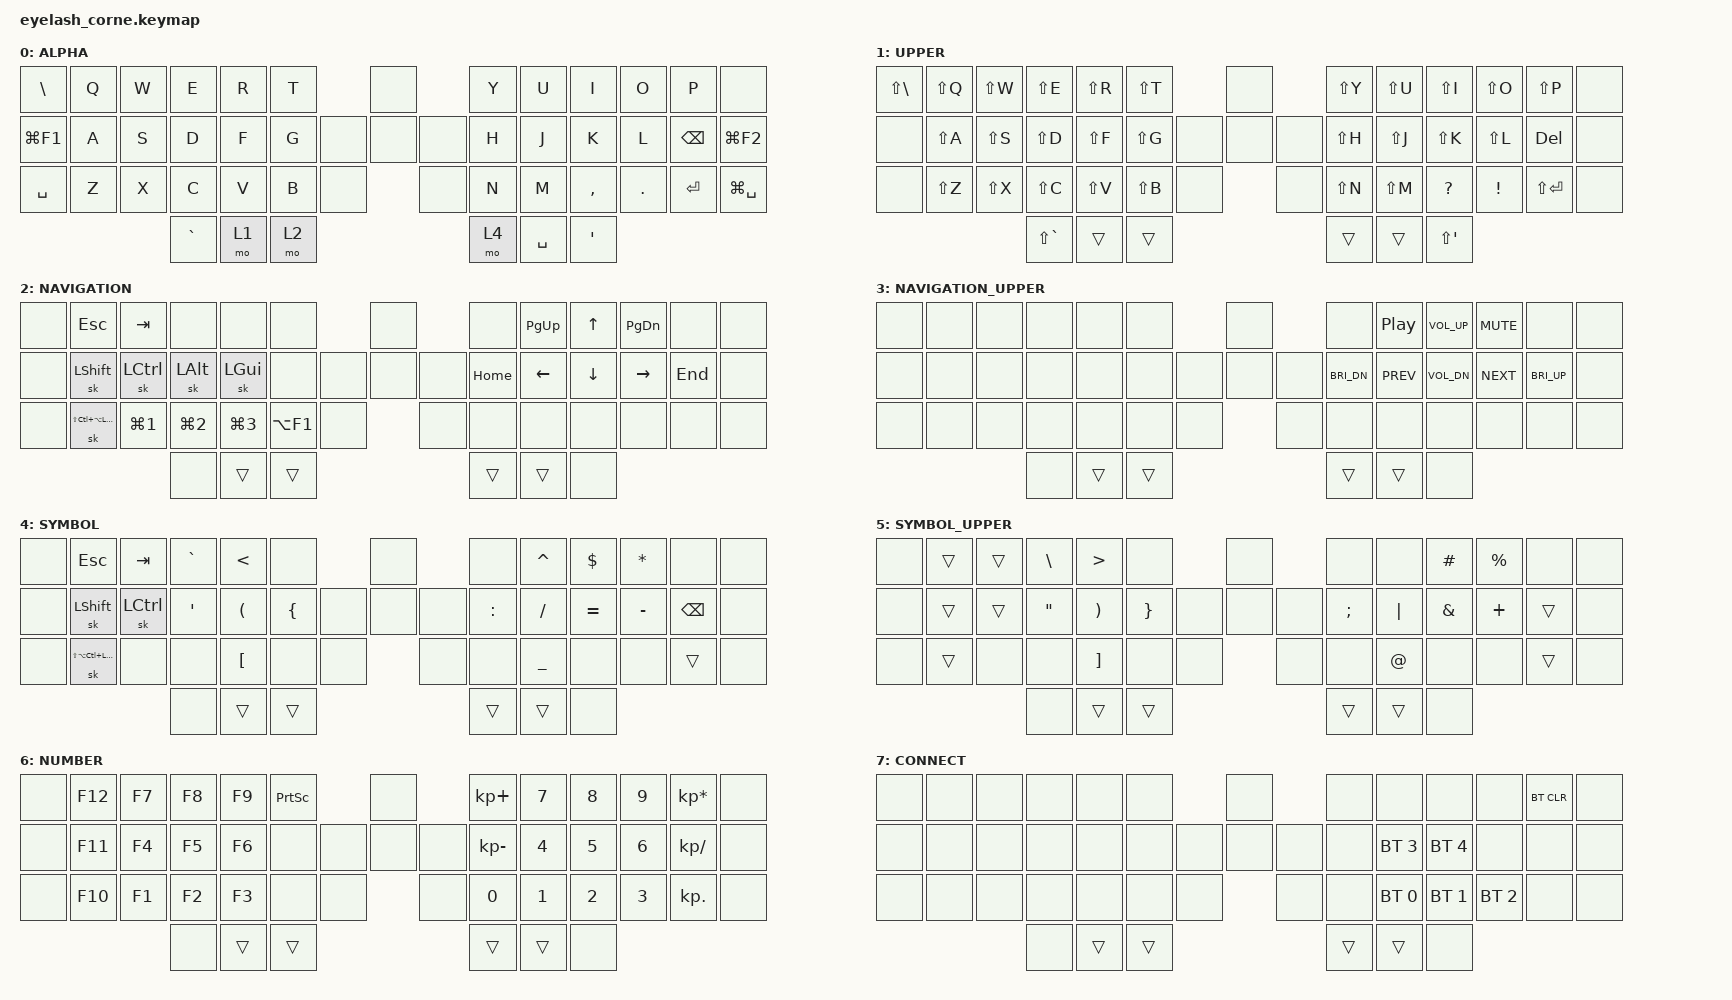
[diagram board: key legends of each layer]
#define ZMK_POINTING_DEFAULT_MOVE_VAL 1200  // 600
#define ZMK_POINTING_DEFAULT_SCRL_VAL 25   // 10

#include <input/processors.dtsi>
#include <zephyr/dt-bindings/input/input-event-codes.h>
#include <behaviors.dtsi>
#include <dt-bindings/zmk/bt.h>
#include <dt-bindings/zmk/keys.h>
#include <dt-bindings/zmk/pointing.h>
#include <dt-bindings/zmk/rgb.h>
#include "keys_it_142.h"

&mmv_input_listener { input-processors = <&zip_xy_scaler 2 1>; };

&msc_input_listener { input-processors = <&zip_scroll_scaler 2 1>; };

&msc {
    acceleration-exponent = <1>;      // 0
    time-to-max-speed-ms = <100>;       // 300
    delay-ms = <0>;                   // 0
};

&mmv {
    time-to-max-speed-ms = <500>;
    acceleration-exponent = <1>;
    trigger-period-ms = <16>;
};

&soft_off { hold-time-ms = <2000>; };

/ {
    behaviors {
        td0: td0 {
            compatible = "zmk,behavior-tap-dance";
            display-name = "Shift/Caps Lock Tap Dance";
            #binding-cells = <0>;
            bindings = <&kp LEFT_SHIFT>, <&kp CAPS>;
        };

        tda: tda {
            compatible = "zmk,behavior-tap-dance";
            label = "TDA";
            #binding-cells = <0>;
            bindings = <&kp A>, <&kp IT_A_GRAVE>;
        };

        tde: tde {
            compatible = "zmk,behavior-tap-dance";
            label = "TDE";
            #binding-cells = <0>;
            bindings = <&kp E>, <&kp IT_E_GRAVE>, <&kp IT_E_ACUTE>;
        };

        tdi: tdi {
            compatible = "zmk,behavior-tap-dance";
            label = "TDI";
            #binding-cells = <0>;
            bindings = <&kp I>, <&kp IT_I_GRAVE>;
        };

        tdo: tdo {
            compatible = "zmk,behavior-tap-dance";
            label = "TDO";
            #binding-cells = <0>;
            bindings = <&kp O>, <&kp IT_O_GRAVE>;
        };

        tdu: tdu {
            compatible = "zmk,behavior-tap-dance";
            label = "TDU";
            #binding-cells = <0>;
            bindings = <&kp U>, <&kp IT_U_GRAVE>;
        };
    };

    rgb_encoder: rgb_encoder {
        compatible = "zmk,behavior-sensor-rotate";
        #sensor-binding-cells = <0>;
        bindings = <&rgb_ug RGB_BRI>, <&rgb_ug RGB_BRD>;
    };

    scroll_encoder: scroll_encoder {
        compatible = "zmk,behavior-sensor-rotate";
        #sensor-binding-cells = <0>;
        bindings = <&msc SCRL_DOWN>, <&msc SCRL_UP>;

        tap-ms = <100>;
    };

    combos {
        compatible = "zmk,combos";

        softoff {
            bindings = <&soft_off>;
            key-positions = <1 15 29>;
        };
    };

    keymap {
        compatible = "zmk,keymap";

        alpha_layer {
            display-name = "ALPHA";
            bindings = <
&kp BACKSLASH  &kp Q  &kp W  &kp E      &kp R  &kp T                  &none         &kp Y  &kp U      &kp I      &kp O    &kp P          &none
&kp LG(F1)     &kp A  &kp S  &kp D      &kp F  &kp G           &none  &none  &none  &kp H  &kp J      &kp K      &kp L    &kp BACKSPACE  &kp LG(F2)
&kp SPACE      &kp Z  &kp X  &kp C      &kp V  &kp B  &none           &none         &kp N  &kp M      &kp COMMA  &kp DOT  &kp ENTER      &kp LG(SPACE)
                             &kp GRAVE  &mo 1  &mo 2                                &mo 4  &kp SPACE  &kp SQT
            >;

            label = "ALPHA";
        };

        alpha_upper_layer {
            bindings = <
&kp LS(BACKSLASH)  &kp LS(Q)  &kp LS(W)  &kp LS(E)      &kp LS(R)  &kp LS(T)                  &none         &kp LS(Y)  &kp LS(U)  &kp LS(I)    &kp LS(O)  &kp LS(P)      &none
&none              &kp LS(A)  &kp LS(S)  &kp LS(D)      &kp LS(F)  &kp LS(G)           &none  &none  &none  &kp LS(H)  &kp LS(J)  &kp LS(K)    &kp LS(L)  &kp DELETE     &none
&none              &kp LS(Z)  &kp LS(X)  &kp LS(C)      &kp LS(V)  &kp LS(B)  &none           &none         &kp LS(N)  &kp LS(M)  &kp QMARK    &kp EXCL   &kp LS(ENTER)  &none
                                         &kp LS(GRAVE)  &trans     &trans                                   &trans     &trans     &kp LS(SQT)
            >;

            label = "UPPER";
        };

        navigation_layer {
            bindings = <
&none  &kp ESC               &kp TAB           &none             &none             &none                       &none         &none     &kp PG_UP  &kp UP    &kp PG_DN  &none    &none
&none  &sk LSHIFT            &sk LCTRL         &sk LALT          &sk LGUI          &none                &none  &none  &none  &kp HOME  &kp LEFT   &kp DOWN  &kp RIGHT  &kp END  &none
&none  &sk LS(LC(LA(LGUI)))  &kp LG(NUMBER_1)  &kp LG(NUMBER_2)  &kp LG(NUMBER_3)  &kp LA(F1)  &none           &none         &none     &none      &none     &none      &none    &none
                                               &none             &trans            &trans                                    &trans    &trans     &none
            >;

            label = "NAVIGATION";
        };

        navigation_upper_layer {
            bindings = <
&none  &none  &none  &none  &none   &none                   &none         &none         &kp C_PP    &kp C_VOL_UP  &kp C_MUTE  &none         &none
&none  &none  &none  &none  &none   &none            &none  &none  &none  &kp C_BRI_DN  &kp C_PREV  &kp C_VOL_DN  &kp C_NEXT  &kp C_BRI_UP  &none
&none  &none  &none  &none  &none   &none   &none           &none         &none         &none       &none         &none       &none         &none
                     &none  &trans  &trans                                &trans        &trans      &none
            >;

            label = "NAVIGATION_UPPER";
        };

        symbol_layer {
            bindings = <
&none  &kp ESCAPE            &kp TAB    &kp GRAVE  &kp LT    &none                     &none         &none      &kp CARET  &kp DOLLAR  &kp STAR   &none          &none
&none  &sk LSHIFT            &sk LCTRL  &kp SQT    &kp LPAR  &kp LBRC           &none  &none  &none  &kp COLON  &kp SLASH  &kp EQUAL   &kp MINUS  &kp BACKSPACE  &none
&none  &sk LS(LA(LC(LGUI)))  &none      &none      &kp LBKT  &none     &none           &none         &none      &kp UNDER  &none       &none      &trans         &none
                                        &none      &trans    &trans                                  &trans     &trans     &none
            >;

            label = "SYMBOL";
        };

        symbol_upper_layer {
            bindings = <
&none  &trans  &trans  &kp BSLH  &kp GT    &none                     &none         &none     &none     &kp HASH  &kp PERCENT  &none   &none
&none  &trans  &trans  &kp DQT   &kp RPAR  &kp RBRC           &none  &none  &none  &kp SEMI  &kp PIPE  &kp AMPS  &kp PLUS     &trans  &none
&none  &trans  &none   &none     &kp RBKT  &none     &none           &none         &none     &kp AT    &none     &none        &trans  &none
                       &none     &trans    &trans                                  &trans    &trans    &none
            >;

            label = "SYMBOL_UPPER";
        };

        number_layer {
            bindings = <
&none  &kp F12  &kp F7  &kp F8  &kp F9  &kp PSCRN                  &none         &kp KP_PLUS   &kp N7  &kp N8  &kp N9  &kp KP_MULTIPLY  &none
&none  &kp F11  &kp F4  &kp F5  &kp F6  &none               &none  &none  &none  &kp KP_MINUS  &kp N4  &kp N5  &kp N6  &kp KP_DIVIDE    &none
&none  &kp F10  &kp F1  &kp F2  &kp F3  &none      &none           &none         &kp N0        &kp N1  &kp N2  &kp N3  &kp KP_DOT       &none
                        &none   &trans  &trans                                   &trans        &trans  &none
            >;

            label = "NUMBER";
        };

        connection_layer {
            bindings = <
&none  &none  &none  &none  &none   &none                   &none         &none   &none         &none         &none         &bt BT_CLR  &none
&none  &none  &none  &none  &none   &none            &none  &none  &none  &none   &bt BT_SEL 3  &bt BT_SEL 4  &none         &none       &none
&none  &none  &none  &none  &none   &none   &none           &none         &none   &bt BT_SEL 0  &bt BT_SEL 1  &bt BT_SEL 2  &none       &none
                     &none  &trans  &trans                                &trans  &trans        &none
            >;

            label = "CONNECT";
        };
    };

    conditional_layers {
        compatible = "zmk,conditional-layers";

        navigation_upper_layer {
            if-layers = <1 2>;
            then-layer = <3>;
        };

        symbol_upper_layer {
            if-layers = <1 4>;
            then-layer = <5>;
        };

        number_layer {
            if-layers = <2 4>;
            then-layer = <6>;
        };

        connection_layer {
            if-layers = <1 2 4>;
            then-layer = <7>;
        };
    };
};
